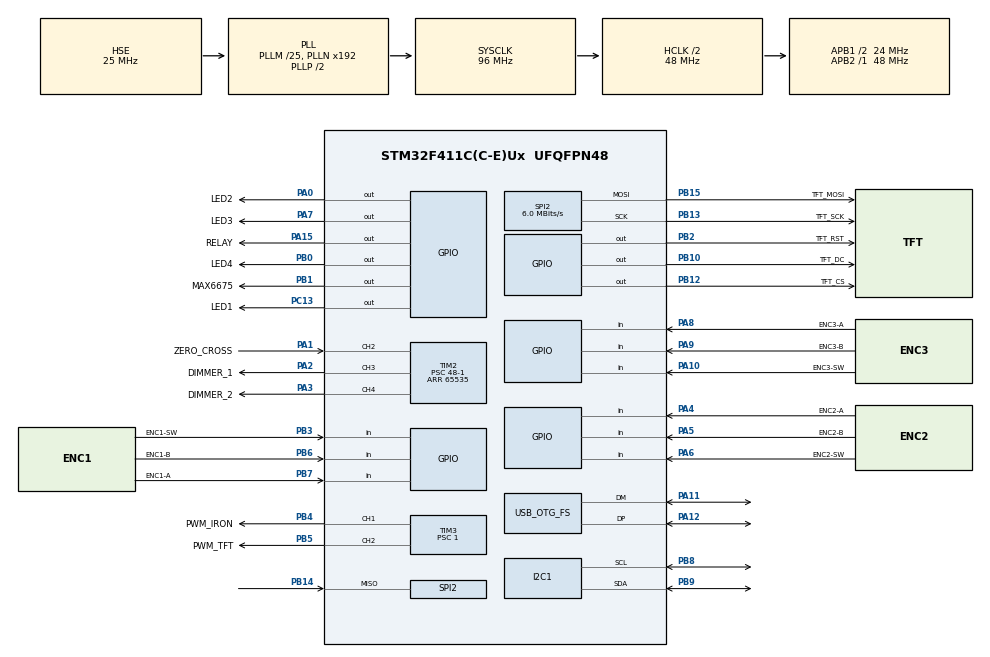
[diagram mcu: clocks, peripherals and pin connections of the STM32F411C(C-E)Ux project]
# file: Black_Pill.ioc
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Dma.Request0=SPI2_TX
Dma.SPI2_TX.0.Direction=DMA_MEMORY_TO_PERIPH
Dma.SPI2_TX.0.FIFOMode=DMA_FIFOMODE_DISABLE
Dma.SPI2_TX.0.Instance=DMA1_Stream4
Dma.SPI2_TX.0.MemDataAlignment=DMA_MDATAALIGN_BYTE
Dma.SPI2_TX.0.MemInc=DMA_MINC_ENABLE
Dma.SPI2_TX.0.Mode=DMA_NORMAL
Dma.SPI2_TX.0.PeriphDataAlignment=DMA_PDATAALIGN_BYTE
Dma.SPI2_TX.0.PeriphInc=DMA_PINC_DISABLE
Dma.SPI2_TX.0.Priority=DMA_PRIORITY_VERY_HIGH
I2C1.I2C_Mode=I2C_Fast
Mcu.Family=STM32F4
Mcu.Name=STM32F411C(C-E)Ux
Mcu.Package=UFQFPN48
NVIC.DMA1_Stream4_IRQn=true\:1\:0\:true\:false\:true\:false\:true\:true
NVIC.OTG_FS_IRQn=true\:0\:0\:false\:false\:true\:false\:true\:true
NVIC.PriorityGroup=NVIC_PRIORITYGROUP_4
NVIC.TIM1_TRG_COM_TIM11_IRQn=true\:15\:0\:false\:false\:true\:false\:true\:true
NVIC.TimeBase=TIM1_TRG_COM_TIM11_IRQn
NVIC.TimeBaseIP=TIM11
PA0-WKUP.GPIO_Label=LED2
PA0-WKUP.Signal=GPIO_Output
PA1.GPIO_Label=ZERO_CROSS
PA1.Signal=S_TIM2_CH2
PA10.GPIO_Label=ENC3-SW
PA10.Signal=GPIO_Input
PA11.Mode=Device_Only
PA11.Signal=USB_OTG_FS_DM
PA12.Mode=Device_Only
PA12.Signal=USB_OTG_FS_DP
PA13.Mode=Serial_Wire
PA13.Signal=SYS_JTMS-SWDIO
PA14.Mode=Serial_Wire
PA14.Signal=SYS_JTCK-SWCLK
PA15.GPIO_Label=RELAY
PA15.Signal=GPIO_Output
PA2.GPIO_Label=DIMMER_1
PA2.Signal=S_TIM2_CH3
PA3.GPIO_Label=DIMMER_2
PA3.Signal=S_TIM2_CH4
PA4.GPIO_Label=ENC2-A
PA4.Signal=GPIO_Input
PA5.GPIO_Label=ENC2-B
PA5.Signal=GPIO_Input
PA6.GPIO_Label=ENC2-SW
PA6.Signal=GPIO_Input
PA7.GPIO_Label=LED3
PA7.Signal=GPIO_Output
PA8.GPIO_Label=ENC3-A
PA8.Signal=GPIO_Input
PA9.GPIO_Label=ENC3-B
PA9.Signal=GPIO_Input
PB0.GPIO_Label=LED4
PB0.Signal=GPIO_Output
PB1.GPIO_Label=MAX6675
PB1.Signal=GPIO_Output
PB10.GPIO_Label=TFT_DC
PB10.Signal=GPIO_Output
PB12.GPIO_Label=TFT_CS
PB12.PinState=GPIO_PIN_SET
PB12.Signal=GPIO_Output
PB13.GPIO_Label=TFT_SCK
PB13.Mode=Full_Duplex_Master
PB13.Signal=SPI2_SCK
PB14.Mode=Full_Duplex_Master
PB14.Signal=SPI2_MISO
PB15.GPIO_Label=TFT_MOSI
PB15.Mode=Full_Duplex_Master
PB15.Signal=SPI2_MOSI
PB2.GPIO_Label=TFT_RST
PB2.PinState=GPIO_PIN_SET
PB2.Signal=GPIO_Output
PB3.GPIO_Label=ENC1-SW
PB3.Signal=GPIO_Input
PB4.GPIO_Label=PWM_IRON
PB4.Signal=S_TIM3_CH1
PB5.GPIO_Label=PWM_TFT
PB5.Signal=S_TIM3_CH2
PB6.GPIO_Label=ENC1-B
PB6.Signal=GPIO_Input
PB7.GPIO_Label=ENC1-A
PB7.Signal=GPIO_Input
PB8.Mode=I2C
PB8.Signal=I2C1_SCL
PB9.Mode=I2C
PB9.Signal=I2C1_SDA
PC13-ANTI_TAMP.GPIO_Label=LED1
PC13-ANTI_TAMP.PinState=GPIO_PIN_SET
PC13-ANTI_TAMP.Signal=GPIO_Output
PC14-OSC32_IN.Mode=LSE-External-Oscillator
PC14-OSC32_IN.Signal=RCC_OSC32_IN
PC15-OSC32_OUT.Mode=LSE-External-Oscillator
PC15-OSC32_OUT.Signal=RCC_OSC32_OUT
PH0\ -\ OSC_IN.Mode=HSE-External-Oscillator
PH0\ -\ OSC_IN.Signal=RCC_OSC_IN
PH1\ -\ OSC_OUT.Mode=HSE-External-Oscillator
PH1\ -\ OSC_OUT.Signal=RCC_OSC_OUT
ProjectManager.HeapSize=0x200
ProjectManager.StackSize=0x400
ProjectManager.TargetToolchain=STM32CubeIDE
RCC.48MHZClocksFreq_Value=48000000
RCC.AHBCLKDivider=RCC_SYSCLK_DIV2
RCC.AHBFreq_Value=48000000
RCC.APB1CLKDivider=RCC_HCLK_DIV2
RCC.APB1Freq_Value=24000000
RCC.APB1TimFreq_Value=48000000
RCC.APB2Freq_Value=48000000
RCC.APB2TimFreq_Value=48000000
RCC.CortexFreq_Value=48000000
RCC.EnbaleCSS=true
RCC.HCLKFreq_Value=48000000
RCC.HSE_VALUE=25000000
RCC.HSI_VALUE=16000000
RCC.PLLM=25
RCC.SYSCLKFreq_VALUE=96000000
RCC.SYSCLKSource=RCC_SYSCLKSOURCE_PLLCLK
RCC.VCOOutputFreq_Value=192000000
SH.S_TIM2_CH2.0=TIM2_CH2,TriggerSource_TI2FP2
SH.S_TIM2_CH3.0=TIM2_CH3,PWM Generation3 CH3
SH.S_TIM2_CH4.0=TIM2_CH4,PWM Generation4 CH4
SH.S_TIM3_CH1.0=TIM3_CH1,PWM Generation1 CH1
SH.S_TIM3_CH2.0=TIM3_CH2,PWM Generation2 CH2
SPI2.BaudRatePrescaler=SPI_BAUDRATEPRESCALER_4
SPI2.CalculateBaudRate=6.0 MBits/s
SPI2.Direction=SPI_DIRECTION_2LINES
SPI2.Mode=SPI_MODE_MASTER
SPI2.VirtualType=VM_MASTER
TIM2.Channel-PWM\ Generation3\ CH3=TIM_CHANNEL_3
TIM2.Channel-PWM\ Generation4\ CH4=TIM_CHANNEL_4
TIM2.Period=65535
TIM2.Prescaler=48-1
TIM3.Channel-PWM\ Generation1\ CH1=TIM_CHANNEL_1
TIM3.Channel-PWM\ Generation2\ CH2=TIM_CHANNEL_2
TIM3.Period=4095
TIM3.Prescaler=1
USB_DEVICE.CLASS_NAME_FS=CDC
USB_DEVICE.VirtualMode=Cdc
USB_DEVICE.VirtualModeFS=Cdc_FS
USB_OTG_FS.VirtualMode=Device_Only
VP_RTC_VS_RTC_Activate.Mode=RTC_Enabled
VP_RTC_VS_RTC_Calendar.Mode=RTC_Calendar
VP_SYS_VS_tim11.Mode=TIM11
VP_TIM2_VS_ClockSourceINT.Mode=Internal
VP_TIM2_VS_ControllerModeTrigger.Mode=Trigger Mode
VP_TIM2_VS_OPM.Mode=OPM_bit
VP_TIM3_VS_ClockSourceINT.Mode=Internal
VP_USB_DEVICE_VS_USB_DEVICE_CDC_FS.Mode=CDC_FS
board=custom

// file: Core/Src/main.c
/* USER CODE BEGIN Header */
/**
  ******************************************************************************
  * @file           : main.c
  * @brief          : Main program body
  ******************************************************************************
  * @attention
  *
  * Copyright (c) 2022 STMicroelectronics.
  * All rights reserved.
  *
  * This software is licensed under terms that can be found in the LICENSE file
  * in the root directory of this software component.
  * If no LICENSE file comes with this software, it is provided AS-IS.
  *
  ******************************************************************************
  */
/* USER CODE END Header */
#include "main.h"
#include "dma.h"
#include "i2c.h"
#include "rtc.h"
#include "spi.h"
#include "tim.h"
#include "usb_device.h"
#include "gpio.h"

/* USER CODE BEGIN Includes */
#include "stdbool.h"
#include "stdio.h"
#include "string.h"
#include "usbd_cdc_if.h"
#include "../BSP/ILI9341/ILI9341.h"
#include "../BSP/MAX6675/max6675.h"
#include "../BSP/ADS1115/ads1115.h"
#include "../BSP/MCP4725/mcp4725.h"
#include "../BSP/MAX6675/max6675.h"
#include "../BSP/ENCODER/encoder.h"
#include "../BSP/KEY/key.h"
#include "../lvgl/lvgl.h"

#include "../APP/tft_screen.h"
/* USER CODE END Includes */

/* USER CODE BEGIN PV */
MCP4725 myMCP4725;
MAX6675_Typedef* MAX6675;

static lv_disp_draw_buf_t disp_buf;
static lv_color_t buf[320*10];				// TFT Buffers
//static lv_color_t buf2[320*10];			// TFT Buffers
uint8_t buf_tft[320*10*2];
uint32_t timer_led = 0;
char string_usb[1023] = {0};
float termocouple = 0.0f;
float adc0 = 0.0f;
bool state_max6675;
uint16_t value_max6675;
uint16_t pot1 = 0, pot2 = 0, pot3 = 0;
/* USER CODE END PV */

void SystemClock_Config(void);

int main(void)
{

  /* MCU Configuration--------------------------------------------------------*/

  /* Reset of all peripherals, Initializes the Flash interface and the Systick. */
  HAL_Init();

  /* Configure the system clock */
  SystemClock_Config();

  /* Initialize all configured peripherals */
  MX_GPIO_Init();
  MX_DMA_Init();
  MX_RTC_Init();
  MX_SPI2_Init();
  MX_TIM2_Init();
  MX_USB_DEVICE_Init();
  MX_I2C1_Init();
  MX_TIM3_Init();
  /* USER CODE BEGIN 2 */
  HAL_TIM_PWM_Start(&htim3, TIM_CHANNEL_1);
  HAL_TIM_PWM_Start(&htim3, TIM_CHANNEL_2);
  __HAL_TIM_SetCompare(&htim3, TIM_CHANNEL_1, 2048);	// PWM_CH1 = 2048 TFT_LED
  __HAL_TIM_SetCompare(&htim3, TIM_CHANNEL_2, 10);		// PWM_CH2 = 10  IRON
  //
  HAL_TIM_PWM_Start(&htim2, TIM_CHANNEL_1);
  HAL_TIM_PWM_Start(&htim2, TIM_CHANNEL_2);
  __HAL_TIM_SetCompare(&htim2, TIM_CHANNEL_1, 100);		// DIMMER_CH1 = 100
  __HAL_TIM_SetCompare(&htim2, TIM_CHANNEL_2, 2048);	// DIMMER_CH2 = 2048

  // Init ADC - ADS1115
  ADS1115_Init();

  // Init DAC - MCP4725
  myMCP4725 = MCP4725_init(&hi2c1, MCP4725A0_ADDR_A00, 3.30);

  // Inicia Fila de Eventos do Teclado
  Evt_InitQueue();

  // Inicia Tecla
  KeyboardInit(0x01);

  // TFT ILI9341
  ILI9341_Init();
  ILI9341_Set_Address(0, 0, 319, 239);
  ILI9341_Fill_Screen(PINK);
  ILI9341_Set_Rotation(3);

  lv_init();
  lv_disp_draw_buf_init(&disp_buf, buf, NULL, 320*10);	//Initialize the display buffer

  // Create a display
  static lv_disp_drv_t disp_drv;
  lv_disp_drv_init(&disp_drv); 		//Basic initialization
  disp_drv.draw_buf = &disp_buf;
  disp_drv.flush_cb = ILI9341_Flush;
  //disp_drv.flush_cb = ILI9341_Flush_DMA;
  disp_drv.hor_res = 320;
  disp_drv.ver_res = 240;
  disp_drv.rotated = LV_DISP_ROT_270;
  disp_drv.sw_rotate = 1;

  lv_disp_t * disp = lv_disp_drv_register(&disp_drv);

  lv_theme_t * th = lv_theme_default_init(disp, lv_palette_main(LV_PALETTE_BLUE), lv_palette_main(LV_PALETTE_RED), LV_THEME_DEFAULT_DARK, LV_FONT_DEFAULT);
  lv_disp_set_theme(disp, th);

  lv_group_t * g = lv_group_create();
  lv_group_set_default(g);
  //
  main_screen();

  /* USER CODE END 2 */

  /* Infinite loop */
  while (1)
  {

    /* USER CODE BEGIN 3 */
	  if(HAL_GetTick() - timer_led > 500) {
		  timer_led = HAL_GetTick();
		  HAL_GPIO_TogglePin(LED1_GPIO_Port, LED1_Pin);
		  adc0 = ADS1115_GetAinVoltage(ads1115_GND_iic_addr, Gain_2_2048V);
		  state_max6675 = MAX6675->MAX6675_getState(MAX6675);
		  value_max6675 = MAX6675->MAX6675_getValue(MAX6675);
		  termocouple = MAX6675->MAX6675_getTemp(MAX6675);
		  sprintf(string_usb, "ADS1115 - CH0: %3.2f - MAX6675 - State: %d Value: %d Temp.: %3.2f C\n\r", adc0, state_max6675, value_max6675, termocouple);
		  CDC_Transmit_FS((uint8_t*)string_usb, strlen(string_usb));				// send message via USB CDC
	  }
	  KeyboardEvent();

	  pot1 = Read_Encoder_A();
	  pot2 = Read_Encoder_B();
	  pot3 = Read_Encoder_C();

	  lv_timer_handler();
  }
  /* USER CODE END 3 */
}

void SystemClock_Config(void)
{
  RCC_OscInitTypeDef RCC_OscInitStruct = {0};
  RCC_ClkInitTypeDef RCC_ClkInitStruct = {0};

  /** Configure the main internal regulator output voltage
  */
  __HAL_RCC_PWR_CLK_ENABLE();
  __HAL_PWR_VOLTAGESCALING_CONFIG(PWR_REGULATOR_VOLTAGE_SCALE1);

  /** Initializes the RCC Oscillators according to the specified parameters
  * in the RCC_OscInitTypeDef structure.
  */
  RCC_OscInitStruct.OscillatorType = RCC_OSCILLATORTYPE_LSI|RCC_OSCILLATORTYPE_HSE;
  RCC_OscInitStruct.HSEState = RCC_HSE_ON;
  RCC_OscInitStruct.LSIState = RCC_LSI_ON;
  RCC_OscInitStruct.PLL.PLLState = RCC_PLL_ON;
  RCC_OscInitStruct.PLL.PLLSource = RCC_PLLSOURCE_HSE;
  RCC_OscInitStruct.PLL.PLLM = 25;
  RCC_OscInitStruct.PLL.PLLN = 192;
  RCC_OscInitStruct.PLL.PLLP = RCC_PLLP_DIV2;
  RCC_OscInitStruct.PLL.PLLQ = 4;
  if (HAL_RCC_OscConfig(&RCC_OscInitStruct) != HAL_OK)
  {
    Error_Handler();
  }

  /** Initializes the CPU, AHB and APB buses clocks
  */
  RCC_ClkInitStruct.ClockType = RCC_CLOCKTYPE_HCLK|RCC_CLOCKTYPE_SYSCLK
                              |RCC_CLOCKTYPE_PCLK1|RCC_CLOCKTYPE_PCLK2;
  RCC_ClkInitStruct.SYSCLKSource = RCC_SYSCLKSOURCE_PLLCLK;
  RCC_ClkInitStruct.AHBCLKDivider = RCC_SYSCLK_DIV2;
  RCC_ClkInitStruct.APB1CLKDivider = RCC_HCLK_DIV2;
  RCC_ClkInitStruct.APB2CLKDivider = RCC_HCLK_DIV1;

  if (HAL_RCC_ClockConfig(&RCC_ClkInitStruct, FLASH_LATENCY_1) != HAL_OK)
  {
    Error_Handler();
  }

  /** Enables the Clock Security System
  */
  HAL_RCC_EnableCSS();
}

void HAL_TIM_PeriodElapsedCallback(TIM_HandleTypeDef *htim)
{
  if (htim->Instance == TIM11) {
    HAL_IncTick();
  }
  /* USER CODE BEGIN Callback 1 */
  if (htim->Instance == TIM11) {
	  lv_tick_inc(1);
  }
  /* USER CODE END Callback 1 */
}

void Error_Handler(void)
{
  __disable_irq();
  while (1)
  {
  }
}
